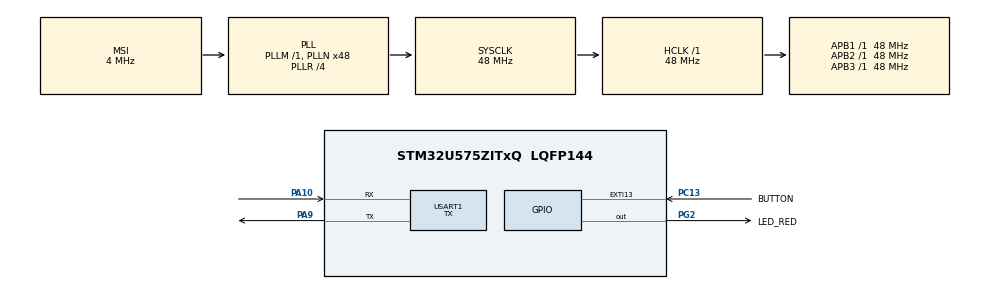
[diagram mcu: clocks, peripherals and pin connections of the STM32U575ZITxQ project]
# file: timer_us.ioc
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CORTEX_M33_NS.userName=CORTEX_M33
Mcu.Family=STM32U5
Mcu.Name=STM32U575ZITxQ
Mcu.Package=LQFP144
NVIC.EXTI13_IRQn=true\:5\:0\:true\:false\:true\:true\:true\:true
NVIC.PriorityGroup=NVIC_PRIORITYGROUP_4
PA10.Mode=Asynchronous
PA10.Signal=USART1_RX
PA9.Mode=Asynchronous
PA9.Signal=USART1_TX
PC13.GPIO_Label=BUTTON
PC13.GPIO_ModeDefaultEXTI=GPIO_MODE_IT_RISING_FALLING
PC13.Signal=GPXTI13
PC14-OSC32_IN\ (PC14).Mode=LSE-External-Oscillator
PC14-OSC32_IN\ (PC14).Signal=RCC_OSC32_IN
PC15-OSC32_OUT\ (PC15).Mode=LSE-External-Oscillator
PC15-OSC32_OUT\ (PC15).Signal=RCC_OSC32_OUT
PG2.GPIO_Label=LED_RED
PG2.Signal=GPIO_Output
PWR.PowerMode=PWR_SMPS_SUPPLY
ProjectManager.HeapSize=0x200
ProjectManager.StackSize=0x400
ProjectManager.TargetToolchain=STM32CubeIDE
RCC.ADCFreq_Value=16000000
RCC.AHBFreq_Value=48000000
RCC.APB1Freq_Value=48000000
RCC.APB1TimFreq_Value=48000000
RCC.APB2Freq_Value=48000000
RCC.APB2TimFreq_Value=48000000
RCC.APB3Freq_Value=48000000
RCC.CortexFreq_Value=48000000
RCC.EPOD_VALUE=4000000
RCC.HCLKFreq_Value=48000000
RCC.HSE_VALUE=16000000
RCC.HSI48_VALUE=48000000
RCC.HSI_VALUE=16000000
RCC.LSIDIV_VALUE=32000
RCC.MSIAutoCalibration=PLLMODE_MSIS
RCC.MSI_VALUE=4000000
RCC.PLL1R=4
RCC.PLLN=48
RCC.SYSCLKFreq_VALUE=48000000
RCC.SYSCLKSource=RCC_SYSCLKSOURCE_PLLCLK
RCC.USBFreq_Value=48000000
RCC.VCOOutputFreq_Value=192000000
TIM2.Prescaler=47
USART1.Mode=MODE_TX
USART1.VirtualMode-Asynchronous=VM_ASYNC
VP_ICACHE_VS_ICACHE.Mode=DirectMappedCache
VP_LPBAMQUEUE_VS_QUEUE.Mode=QUEUEMODE
VP_LPBAM_VS_SIG1.Mode=SmartRun
VP_LPBAM_VS_SIG4.Mode=LPDMA1
VP_MEMORYMAP_VS_MEMORYMAP.Mode=CurAppReg
VP_PWR_VS_LPOM.Mode=PowerOptimisation
VP_PWR_VS_SECSignals.Mode=Security/Privilege
VP_TIM2_VS_ClockSourceINT.Mode=Internal
board=custom

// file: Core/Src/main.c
/* USER CODE BEGIN Header */
/**
  ******************************************************************************
  * @file           : main.c
  * @brief          : Main program body
  ******************************************************************************
  * @attention
  *
  * Copyright (c) 2025 STMicroelectronics.
  * All rights reserved.
  *
  * This software is licensed under terms that can be found in the LICENSE file
  * in the root directory of this software component.
  * If no LICENSE file comes with this software, it is provided AS-IS.
  *
  ******************************************************************************
  */
/* USER CODE END Header */
#include "main.h"

/* USER CODE BEGIN Includes */
#include <stdio.h>
#include "interrupt_callbacks.h"
/* USER CODE END Includes */

TIM_HandleTypeDef htim2;

UART_HandleTypeDef huart1;

void SystemClock_Config(void);
static void SystemPower_Config(void);
static void MX_GPIO_Init(void);
static void MX_ICACHE_Init(void);
static void MX_USART1_UART_Init(void);
static void MX_TIM2_Init(void);

/* USER CODE BEGIN 0 */
void delay_us(uint32_t us)
{
	uint32_t start = __HAL_TIM_GET_COUNTER(&htim2);
	while ((__HAL_TIM_GET_COUNTER(&htim2) - start) < us);
}
/* USER CODE END 0 */

int main(void)
{

  /* MCU Configuration--------------------------------------------------------*/

  /* Reset of all peripherals, Initializes the Flash interface and the Systick. */
  HAL_Init();

  /* Configure the System Power */
  SystemPower_Config();

  /* Configure the system clock */
  SystemClock_Config();

  /* Initialize all configured peripherals */
  MX_GPIO_Init();
  MX_ICACHE_Init();
  MX_USART1_UART_Init();
  MX_TIM2_Init();
  /* USER CODE BEGIN 2 */
  printf("\r******* Start *******\r\n");
  HAL_StatusTypeDef status = HAL_TIM_Base_Start(&htim2);
  if (status != HAL_OK) {
	  printf("Failed to start timer\r\n");
  }
  /* USER CODE END 2 */

  /* Infinite loop */
  /* USER CODE BEGIN WHILE */
  while (1)
  {
	  if (button_rising) {
		  button_rising = 0U;
		  HAL_GPIO_WritePin(LED_RED_GPIO_Port, LED_RED_Pin, GPIO_PIN_SET);
		  delay_us(1000000U);
		  HAL_GPIO_WritePin(LED_RED_GPIO_Port, LED_RED_Pin, GPIO_PIN_RESET);
	  }

	  if (button_falling) {
		  button_falling = 0U;
	  }
    /* USER CODE END WHILE */

  }
}

void SystemClock_Config(void)
{
  RCC_OscInitTypeDef RCC_OscInitStruct = {0};
  RCC_ClkInitTypeDef RCC_ClkInitStruct = {0};

  /** Configure the main internal regulator output voltage
  */
  if (HAL_PWREx_ControlVoltageScaling(PWR_REGULATOR_VOLTAGE_SCALE3) != HAL_OK)
  {
    Error_Handler();
  }

  /** Configure LSE Drive Capability
  */
  HAL_PWR_EnableBkUpAccess();
  __HAL_RCC_LSEDRIVE_CONFIG(RCC_LSEDRIVE_LOW);

  /** Initializes the CPU, AHB and APB buses clocks
  */
  RCC_OscInitStruct.OscillatorType = RCC_OSCILLATORTYPE_LSE|RCC_OSCILLATORTYPE_MSI;
  RCC_OscInitStruct.LSEState = RCC_LSE_ON;
  RCC_OscInitStruct.MSIState = RCC_MSI_ON;
  RCC_OscInitStruct.MSICalibrationValue = RCC_MSICALIBRATION_DEFAULT;
  RCC_OscInitStruct.MSIClockRange = RCC_MSIRANGE_4;
  RCC_OscInitStruct.PLL.PLLState = RCC_PLL_ON;
  RCC_OscInitStruct.PLL.PLLSource = RCC_PLLSOURCE_MSI;
  RCC_OscInitStruct.PLL.PLLMBOOST = RCC_PLLMBOOST_DIV1;
  RCC_OscInitStruct.PLL.PLLM = 1;
  RCC_OscInitStruct.PLL.PLLN = 48;
  RCC_OscInitStruct.PLL.PLLP = 2;
  RCC_OscInitStruct.PLL.PLLQ = 2;
  RCC_OscInitStruct.PLL.PLLR = 4;
  RCC_OscInitStruct.PLL.PLLRGE = RCC_PLLVCIRANGE_0;
  RCC_OscInitStruct.PLL.PLLFRACN = 0;
  if (HAL_RCC_OscConfig(&RCC_OscInitStruct) != HAL_OK)
  {
    Error_Handler();
  }

  /** Initializes the CPU, AHB and APB buses clocks
  */
  RCC_ClkInitStruct.ClockType = RCC_CLOCKTYPE_HCLK|RCC_CLOCKTYPE_SYSCLK
                              |RCC_CLOCKTYPE_PCLK1|RCC_CLOCKTYPE_PCLK2
                              |RCC_CLOCKTYPE_PCLK3;
  RCC_ClkInitStruct.SYSCLKSource = RCC_SYSCLKSOURCE_PLLCLK;
  RCC_ClkInitStruct.AHBCLKDivider = RCC_SYSCLK_DIV1;
  RCC_ClkInitStruct.APB1CLKDivider = RCC_HCLK_DIV1;
  RCC_ClkInitStruct.APB2CLKDivider = RCC_HCLK_DIV1;
  RCC_ClkInitStruct.APB3CLKDivider = RCC_HCLK_DIV1;

  if (HAL_RCC_ClockConfig(&RCC_ClkInitStruct, FLASH_LATENCY_1) != HAL_OK)
  {
    Error_Handler();
  }

  /** Enable MSI Auto calibration
  */
  HAL_RCCEx_EnableMSIPLLModeSelection(RCC_MSISPLL_MODE_SEL);
  HAL_RCCEx_EnableMSIPLLMode();
}

/**
  * @brief Power Configuration
  * @retval None
  */
static void SystemPower_Config(void)
{
  HAL_PWREx_EnableVddIO2();

  /*
   * Switch to SMPS regulator instead of LDO
   */
  if (HAL_PWREx_ConfigSupply(PWR_SMPS_SUPPLY) != HAL_OK)
  {
    Error_Handler();
  }
}

static void MX_ICACHE_Init(void)
{

  /** Enable instruction cache in 1-way (direct mapped cache)
  */
  if (HAL_ICACHE_ConfigAssociativityMode(ICACHE_1WAY) != HAL_OK)
  {
    Error_Handler();
  }
  if (HAL_ICACHE_Enable() != HAL_OK)
  {
    Error_Handler();
  }

}

static void MX_TIM2_Init(void)
{

  TIM_ClockConfigTypeDef sClockSourceConfig = {0};
  TIM_MasterConfigTypeDef sMasterConfig = {0};

  htim2.Instance = TIM2;
  htim2.Init.Prescaler = 47;
  htim2.Init.CounterMode = TIM_COUNTERMODE_UP;
  htim2.Init.Period = 4294967295;
  htim2.Init.ClockDivision = TIM_CLOCKDIVISION_DIV1;
  htim2.Init.AutoReloadPreload = TIM_AUTORELOAD_PRELOAD_DISABLE;
  if (HAL_TIM_Base_Init(&htim2) != HAL_OK)
  {
    Error_Handler();
  }
  sClockSourceConfig.ClockSource = TIM_CLOCKSOURCE_INTERNAL;
  if (HAL_TIM_ConfigClockSource(&htim2, &sClockSourceConfig) != HAL_OK)
  {
    Error_Handler();
  }
  sMasterConfig.MasterOutputTrigger = TIM_TRGO_RESET;
  sMasterConfig.MasterSlaveMode = TIM_MASTERSLAVEMODE_DISABLE;
  if (HAL_TIMEx_MasterConfigSynchronization(&htim2, &sMasterConfig) != HAL_OK)
  {
    Error_Handler();
  }

}

static void MX_USART1_UART_Init(void)
{

  huart1.Instance = USART1;
  huart1.Init.BaudRate = 115200;
  huart1.Init.WordLength = UART_WORDLENGTH_8B;
  huart1.Init.StopBits = UART_STOPBITS_1;
  huart1.Init.Parity = UART_PARITY_NONE;
  huart1.Init.Mode = UART_MODE_TX;
  huart1.Init.HwFlowCtl = UART_HWCONTROL_NONE;
  huart1.Init.OverSampling = UART_OVERSAMPLING_16;
  huart1.Init.OneBitSampling = UART_ONE_BIT_SAMPLE_DISABLE;
  huart1.Init.ClockPrescaler = UART_PRESCALER_DIV1;
  huart1.AdvancedInit.AdvFeatureInit = UART_ADVFEATURE_NO_INIT;
  if (HAL_UART_Init(&huart1) != HAL_OK)
  {
    Error_Handler();
  }
  if (HAL_UARTEx_SetTxFifoThreshold(&huart1, UART_TXFIFO_THRESHOLD_1_8) != HAL_OK)
  {
    Error_Handler();
  }
  if (HAL_UARTEx_SetRxFifoThreshold(&huart1, UART_RXFIFO_THRESHOLD_1_8) != HAL_OK)
  {
    Error_Handler();
  }
  if (HAL_UARTEx_DisableFifoMode(&huart1) != HAL_OK)
  {
    Error_Handler();
  }

}

static void MX_GPIO_Init(void)
{
  GPIO_InitTypeDef GPIO_InitStruct = {0};

  /* GPIO Ports Clock Enable */
  __HAL_RCC_GPIOC_CLK_ENABLE();
  __HAL_RCC_GPIOG_CLK_ENABLE();
  __HAL_RCC_GPIOA_CLK_ENABLE();

  /*Configure GPIO pin Output Level */
  HAL_GPIO_WritePin(LED_RED_GPIO_Port, LED_RED_Pin, GPIO_PIN_RESET);

  /*Configure GPIO pin : BUTTON_Pin */
  GPIO_InitStruct.Pin = BUTTON_Pin;
  GPIO_InitStruct.Mode = GPIO_MODE_IT_RISING_FALLING;
  GPIO_InitStruct.Pull = GPIO_NOPULL;
  HAL_GPIO_Init(BUTTON_GPIO_Port, &GPIO_InitStruct);

  /*Configure GPIO pin : LED_RED_Pin */
  GPIO_InitStruct.Pin = LED_RED_Pin;
  GPIO_InitStruct.Mode = GPIO_MODE_OUTPUT_PP;
  GPIO_InitStruct.Pull = GPIO_NOPULL;
  GPIO_InitStruct.Speed = GPIO_SPEED_FREQ_LOW;
  HAL_GPIO_Init(LED_RED_GPIO_Port, &GPIO_InitStruct);

  /* EXTI interrupt init*/
  HAL_NVIC_SetPriority(EXTI13_IRQn, 5, 0);
  HAL_NVIC_EnableIRQ(EXTI13_IRQn);

}

/* USER CODE BEGIN 4 */
int __io_putchar(int ch)
{
	// Transmit 1 character over UART
	HAL_UART_Transmit(&huart1, (uint8_t*)&ch, 1U, HAL_MAX_DELAY);

	return ch;
}
/* USER CODE END 4 */

void Error_Handler(void)
{
  __disable_irq();
  while (1)
  {
  }
}
